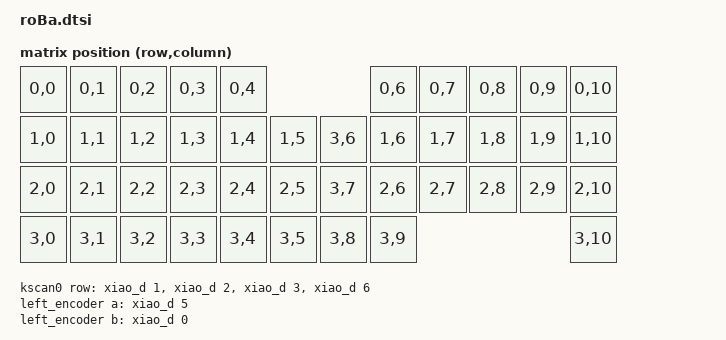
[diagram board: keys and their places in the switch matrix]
#include <dt-bindings/zmk/matrix_transform.h>

/ {
    chosen {
        zmk,kscan = &kscan0;
        zmk,matrix_transform = &default_transform;
    };

    default_transform: keymap_transform_0 {
        compatible = "zmk,matrix-transform";
        columns = <11>;
        rows = <4>;               
        map = <
            RC(0,0) RC(0,1) RC(0,2) RC(0,3) RC(0,4)                     RC(0,6) RC(0,7) RC(0,8) RC(0,9) RC(0,10)
            RC(1,0) RC(1,1) RC(1,2) RC(1,3) RC(1,4) RC(1,5)     RC(3,6) RC(1,6) RC(1,7) RC(1,8) RC(1,9) RC(1,10)
            RC(2,0) RC(2,1) RC(2,2) RC(2,3) RC(2,4) RC(2,5)     RC(3,7) RC(2,6) RC(2,7) RC(2,8) RC(2,9) RC(2,10)
            RC(3,0) RC(3,1) RC(3,2) RC(3,3) RC(3,4) RC(3,5)     RC(3,8) RC(3,9)                         RC(3,10)         
        >;
    };
    
    kscan0: kscan {
        compatible = "zmk,kscan-gpio-matrix";
        label = "KSCAN";
        diode-direction = "col2row";
            row-gpios
                = <&xiao_d 1 (GPIO_ACTIVE_HIGH | GPIO_PULL_DOWN)> 
                , <&xiao_d 2 (GPIO_ACTIVE_HIGH | GPIO_PULL_DOWN)> 
                , <&xiao_d 3 (GPIO_ACTIVE_HIGH | GPIO_PULL_DOWN)> 
                , <&xiao_d 6 (GPIO_ACTIVE_HIGH | GPIO_PULL_DOWN)> 			
                ;
    };

    left_encoder: encoder_left {
        compatible = "alps,ec11";
        a-gpios = <&xiao_d 5 (GPIO_ACTIVE_HIGH | GPIO_PULL_UP)>;
        b-gpios = <&xiao_d 0 (GPIO_ACTIVE_HIGH | GPIO_PULL_UP)>;
        steps = <12>;
        status = "disabled";
    };

    right_encoder: encoder_right {
        status = "disabled";
    };

    sensors: sensors {
        compatible = "zmk,keymap-sensors";
        sensors = <&left_encoder &right_encoder>;
        triggers-per-rotation = <2>;
    };
};
